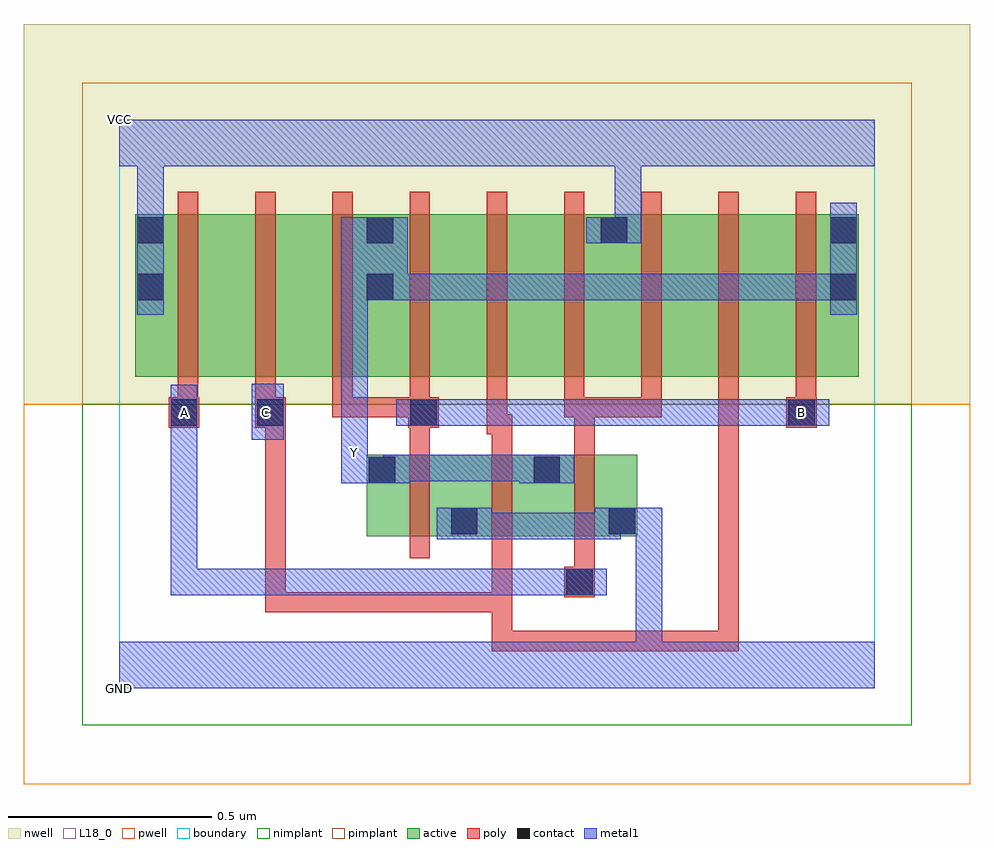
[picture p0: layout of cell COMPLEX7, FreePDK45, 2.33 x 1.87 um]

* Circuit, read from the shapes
.subckt COMPLEX7 A B C GND VCC Y
M1 GND B Y VSUBS nfet w=0.2u l=0.05u
M2 Y C GND VSUBS nfet w=0.2u l=0.05u
M3 GND A Y VSUBS nfet w=0.2u l=0.05u
M4 n1 A VCC n2 pfet w=0.4u l=0.05u
M5 n3 C n1 n2 pfet w=0.4u l=0.05u
M6 Y B n3 n2 pfet w=0.4u l=0.05u
M7 n4 B Y n2 pfet w=0.4u l=0.05u
M8 n5 C n4 n2 pfet w=0.4u l=0.05u
M9 VCC A n5 n2 pfet w=0.4u l=0.05u
M10 n6 A VCC n2 pfet w=0.4u l=0.05u
M11 n7 C n6 n2 pfet w=0.4u l=0.05u
M12 Y B n7 n2 pfet w=0.4u l=0.05u
.ends

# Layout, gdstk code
import gdstk
lib = gdstk.Library(unit=1e-6, precision=1e-09)
def R(c, l, rs):  # rectangles x0, y0, x1, y1
    for r in rs: c.add(gdstk.rectangle(r[:2], r[2:], *l))
def A(c, l, x, y, w, h, nx, ny, dx, dy):  # array of equal rectangles
    R(c, l, [(x+i*dx, y+j*dy, x+i*dx+w, y+j*dy+h) for i in range(nx) for j in range(ny)])
active = (1, 0)
pwell = (2, 0)
nwell = (3, 0)
nimplant = (4, 0)
pimplant = (5, 0)
poly = (9, 0)
contact = (10, 0)
metal1 = (11, 0)
L18_0 = (18, 0)
boundary = (235, 0)

complex7 = lib.new_cell('COMPLEX7')
A(complex7, active, 0.265, 0.767, 0.19, 0.4, 3, 1, 0.57, 0)
R(complex7, active, [(0.61,0.375,0.887,0.575), (0.812,0.375,0.887,0.575), (0.812,0.375,1.09,0.575), (1.015,0.375,1.275,0.575), (1.2,0.375,1.275,0.575), (0.61,0.445,0.685,0.575), (1.015,0.445,1.09,0.575), (0.04,0.767,0.265,1.167), (0.04,0.767,0.115,1.167), (0.455,0.767,0.68,1.167), (0.605,0.767,0.835,1.167), (0.605,0.767,0.68,1.167), (1.025,0.767,1.255,1.167), (1.18,0.767,1.405,1.167), (1.595,0.767,1.82,1.167), (1.745,0.767,1.82,1.165), (1.18,0.85,1.255,1.167)])
R(complex7, pwell, [(-0.235,-0.235,2.095,0.7)])
R(complex7, nwell, [(-0.235,0.7,2.095,1.635)])
R(complex7, nimplant, [(-0.09,-0.09,1.95,0.7)])
R(complex7, pimplant, [(-0.09,0.7,1.95,1.49)])
A(complex7, poly, 0.145, 0.667, 0.05, 0.095, 4, 1, 0.19, 0)
A(complex7, poly, 0.145, 0.712, 0.05, 0.51, 9, 1, 0.19, 0)
R(complex7, poly, [(0.917,0.092,0.967,0.142), (0.917,0.092,1.1,0.142), (0.917,0.092,0.967,0.237), (1.05,0.092,1.1,0.142), (1.05,0.092,1.1,0.142), (1.05,0.092,1.1,0.142), (1.05,0.092,1.392,0.142), (1.342,0.092,1.392,0.142), (1.342,0.092,1.392,0.142), (1.342,0.092,1.392,0.142), (1.342,0.092,1.392,0.142), (1.342,0.092,1.392,0.142), (1.342,0.092,1.392,0.142), (1.342,0.092,1.392,0.142), (1.342,0.092,1.525,0.142), (1.475,0.092,1.525,0.762), (1.475,0.092,1.525,0.142), (1.475,0.092,1.525,0.142), (1.475,0.092,1.525,0.142), (1.475,0.092,1.525,0.142), (1.475,0.092,1.525,0.142), (1.475,0.092,1.525,0.142), (1.475,0.092,1.525,0.142), (0.36,0.187,0.41,0.237), (0.36,0.187,0.41,0.237), (0.36,0.187,0.41,0.237), (0.36,0.187,0.41,0.237), (0.36,0.187,0.41,0.237), (0.36,0.187,0.542,0.237), (0.36,0.187,0.41,0.692), (0.492,0.187,0.542,0.237), (0.492,0.187,0.542,0.237), (0.492,0.187,0.542,0.237), (0.492,0.187,0.542,0.237), (0.492,0.187,0.542,0.237), (0.492,0.187,0.822,0.237), (0.772,0.187,0.822,0.237), (0.772,0.187,0.822,0.237), (0.772,0.187,0.822,0.237), (0.772,0.187,0.967,0.237), (0.917,0.187,0.967,0.237), (0.917,0.187,0.967,0.37), (1.095,0.225,1.17,0.3), (1.12,0.25,1.17,0.37), (0.715,0.32,0.765,0.63), (0.917,0.32,0.967,0.63), (1.12,0.32,1.17,0.63), (0.715,0.58,0.765,0.692), (0.917,0.58,0.967,0.675), (1.12,0.58,1.17,0.717), (0.905,0.625,0.955,0.762), (0.905,0.625,0.967,0.675), (0.122,0.642,0.197,0.717), (0.335,0.642,0.41,0.717), (0.712,0.642,0.787,0.717), (1.642,0.642,1.717,0.717), (0.525,0.667,0.575,0.717), (0.525,0.667,0.575,0.717), (0.525,0.667,0.575,0.717), (0.525,0.667,0.762,0.717), (1.095,0.667,1.145,0.762), (1.095,0.667,1.17,0.717), (1.12,0.667,1.335,0.717), (1.285,0.667,1.335,0.762), (1.285,0.667,1.335,0.717), (1.285,0.667,1.335,0.717), (1.285,0.667,1.335,0.717), (1.665,0.667,1.715,0.762)])
R(complex7, contact, [(1.1,0.23,1.165,0.295), (0.817,0.38,0.882,0.445), (1.205,0.38,1.27,0.445), (0.615,0.505,0.68,0.57), (1.02,0.505,1.085,0.57), (0.127,0.647,0.192,0.712), (0.34,0.647,0.405,0.712), (0.717,0.647,0.782,0.712), (1.647,0.647,1.712,0.712), (0.045,0.955,0.11,1.02), (0.61,0.955,0.675,1.02), (1.75,0.955,1.815,1.02), (0.045,1.095,0.11,1.16), (0.61,1.095,0.675,1.16), (1.185,1.095,1.25,1.16), (1.75,1.095,1.815,1.16)])
R(complex7, metal1, [(0,0,1.86,0.115), (1.272,0.05,1.337,0.445), (0.127,0.23,0.192,0.295), (0.127,0.23,0.337,0.295), (0.127,0.23,0.192,0.677), (0.272,0.23,0.337,0.295), (0.272,0.23,0.475,0.295), (0.41,0.23,0.475,0.295), (0.41,0.23,0.475,0.295), (0.41,0.23,0.475,0.295), (0.41,0.23,0.475,0.295), (0.41,0.23,0.475,0.295), (0.41,0.23,0.71,0.295), (0.645,0.23,0.71,0.295), (0.645,0.23,0.71,0.295), (0.645,0.23,0.71,0.295), (0.645,0.23,0.71,0.295), (0.645,0.23,0.71,0.295), (0.645,0.23,0.852,0.295), (0.787,0.23,0.852,0.295), (0.787,0.23,0.992,0.295), (0.927,0.23,0.992,0.295), (0.927,0.23,1.077,0.295), (1.012,0.23,1.077,0.295), (1.012,0.23,1.13,0.295), (1.065,0.23,1.2,0.295), (0.782,0.367,0.917,0.445), (0.852,0.367,0.952,0.432), (0.887,0.367,0.952,0.432), (0.887,0.367,1.077,0.432), (1.012,0.367,1.077,0.432), (1.012,0.367,1.235,0.432), (1.17,0.367,1.235,0.445), (1.17,0.38,1.235,0.445), (1.17,0.38,1.337,0.445), (1.272,0.38,1.337,0.445), (1.272,0.38,1.337,0.445), (1.272,0.38,1.337,0.445), (1.272,0.38,1.337,0.445), (1.272,0.38,1.337,0.445), (1.272,0.38,1.337,0.445), (0.547,0.505,0.612,0.57), (0.547,0.505,0.715,0.57), (0.547,0.505,0.612,0.647), (0.65,0.505,0.715,0.57), (0.65,0.505,0.715,0.575), (0.985,0.505,1.12,0.575), (0.65,0.51,0.852,0.575), (0.787,0.51,0.852,0.575), (0.787,0.51,0.955,0.575), (0.89,0.51,0.955,0.575), (0.89,0.51,1.05,0.575), (0.547,0.582,0.612,1.02), (0.127,0.612,0.192,0.677), (0.127,0.612,0.192,0.677), (0.127,0.612,0.192,0.747), (0.327,0.612,0.405,0.75), (0.682,0.647,0.817,0.712), (0.752,0.647,0.912,0.712), (0.847,0.647,0.912,0.712), (0.847,0.647,0.955,0.712), (0.89,0.647,0.955,0.712), (0.89,0.647,1.077,0.712), (1.012,0.647,1.077,0.712), (1.012,0.647,1.215,0.712), (1.15,0.647,1.215,0.712), (1.15,0.647,1.215,0.712), (1.15,0.647,1.215,0.712), (1.15,0.647,1.402,0.712), (1.337,0.647,1.402,0.712), (1.337,0.647,1.402,0.712), (1.337,0.647,1.402,0.712), (1.337,0.647,1.54,0.712), (1.475,0.647,1.54,0.712), (1.475,0.647,1.54,0.712), (1.475,0.647,1.54,0.712), (1.475,0.647,1.677,0.712), (1.612,0.647,1.747,0.712), (0.045,0.92,0.11,1.195), (1.75,0.92,1.815,1.195), (0.547,0.955,0.71,1.16), (0.645,0.955,0.71,1.02), (0.645,0.955,0.71,1.02), (0.645,0.955,0.852,1.02), (0.787,0.955,0.852,1.02), (0.787,0.955,0.955,1.02), (0.89,0.955,0.955,1.02), (0.89,0.955,1.077,1.02), (1.012,0.955,1.077,1.02), (1.012,0.955,1.215,1.02), (1.15,0.955,1.215,1.02), (1.15,0.955,1.215,1.02), (1.15,0.955,1.215,1.02), (1.15,0.955,1.402,1.02), (1.337,0.955,1.402,1.02), (1.337,0.955,1.402,1.02), (1.337,0.955,1.402,1.02), (1.337,0.955,1.54,1.02), (1.475,0.955,1.54,1.02), (1.475,0.955,1.54,1.02), (1.475,0.955,1.54,1.02), (1.475,0.955,1.815,1.02), (1.75,0.955,1.815,1.02), (1.75,0.955,1.815,1.02), (1.15,1.095,1.285,1.16), (1.22,1.095,1.285,1.35), (0.045,1.13,0.11,1.35), (0,1.285,1.86,1.4)])
R(complex7, L18_0, [(0,0,1.86,0.115), (1.272,0.05,1.337,0.445), (0.127,0.23,0.192,0.295), (0.127,0.23,0.192,0.677), (0.127,0.23,0.337,0.295), (0.272,0.23,0.337,0.295), (0.272,0.23,0.475,0.295), (0.41,0.23,0.475,0.295), (0.41,0.23,0.475,0.295), (0.41,0.23,0.475,0.295), (0.41,0.23,0.475,0.295), (0.41,0.23,0.475,0.295), (0.41,0.23,0.71,0.295), (0.645,0.23,0.71,0.295), (0.645,0.23,0.71,0.295), (0.645,0.23,0.71,0.295), (0.645,0.23,0.71,0.295), (0.645,0.23,0.71,0.295), (0.645,0.23,0.852,0.295), (0.787,0.23,0.852,0.295), (0.787,0.23,0.992,0.295), (0.927,0.23,0.992,0.295), (0.927,0.23,1.077,0.295), (1.012,0.23,1.077,0.295), (1.012,0.23,1.13,0.295), (1.065,0.23,1.2,0.295), (0.782,0.367,0.917,0.445), (0.852,0.367,0.952,0.432), (0.887,0.367,0.952,0.432), (0.887,0.367,1.077,0.432), (1.012,0.367,1.077,0.432), (1.012,0.367,1.235,0.432), (1.17,0.367,1.235,0.445), (1.17,0.38,1.235,0.445), (1.17,0.38,1.337,0.445), (1.272,0.38,1.337,0.445), (1.272,0.38,1.337,0.445), (1.272,0.38,1.337,0.445), (1.272,0.38,1.337,0.445), (1.272,0.38,1.337,0.445), (1.272,0.38,1.337,0.445), (0.547,0.505,0.612,0.57), (0.547,0.505,0.715,0.57), (0.547,0.505,0.612,0.647), (0.65,0.505,0.715,0.57), (0.65,0.505,0.715,0.575), (0.985,0.505,1.12,0.575), (0.65,0.51,0.852,0.575), (0.787,0.51,0.852,0.575), (0.787,0.51,0.955,0.575), (0.89,0.51,0.955,0.575), (0.89,0.51,1.05,0.575), (0.547,0.547,0.612,0.612), (0.547,0.582,0.612,1.02), (0.127,0.612,0.192,0.747), (0.127,0.612,0.192,0.677), (0.127,0.612,0.192,0.677), (0.327,0.612,0.405,0.75), (0.127,0.647,0.192,0.712), (0.327,0.647,0.392,0.712), (0.682,0.647,0.817,0.712), (0.752,0.647,0.912,0.712), (0.847,0.647,0.912,0.712), (0.847,0.647,0.955,0.712), (0.89,0.647,0.955,0.712), (0.89,0.647,1.077,0.712), (1.012,0.647,1.077,0.712), (1.012,0.647,1.215,0.712), (1.15,0.647,1.215,0.712), (1.15,0.647,1.215,0.712), (1.15,0.647,1.215,0.712), (1.15,0.647,1.402,0.712), (1.337,0.647,1.402,0.712), (1.337,0.647,1.402,0.712), (1.337,0.647,1.402,0.712), (1.337,0.647,1.54,0.712), (1.475,0.647,1.54,0.712), (1.475,0.647,1.54,0.712), (1.475,0.647,1.54,0.712), (1.475,0.647,1.677,0.712), (1.612,0.647,1.747,0.712), (1.647,0.647,1.712,0.712), (0.045,0.92,0.11,1.195), (1.75,0.92,1.815,1.195), (0.547,0.955,0.71,1.16), (0.645,0.955,0.71,1.02), (0.645,0.955,0.71,1.02), (0.645,0.955,0.852,1.02), (0.787,0.955,0.852,1.02), (0.787,0.955,0.955,1.02), (0.89,0.955,0.955,1.02), (0.89,0.955,1.077,1.02), (1.012,0.955,1.077,1.02), (1.012,0.955,1.215,1.02), (1.15,0.955,1.215,1.02), (1.15,0.955,1.215,1.02), (1.15,0.955,1.215,1.02), (1.15,0.955,1.402,1.02), (1.337,0.955,1.402,1.02), (1.337,0.955,1.402,1.02), (1.337,0.955,1.402,1.02), (1.337,0.955,1.54,1.02), (1.475,0.955,1.54,1.02), (1.475,0.955,1.54,1.02), (1.475,0.955,1.54,1.02), (1.475,0.955,1.815,1.02), (1.75,0.955,1.815,1.02), (1.75,0.955,1.815,1.02), (1.15,1.095,1.285,1.16), (1.22,1.095,1.285,1.35), (0.045,1.13,0.11,1.35), (0,1.285,1.86,1.4)])
R(complex7, boundary, [(0,0,1.86,1.4)])
complex7.add(gdstk.Label('A', (0.16,0.68), layer=11, texttype=0))
complex7.add(gdstk.Label('B', (1.68,0.68), layer=11, texttype=0))
complex7.add(gdstk.Label('C', (0.36,0.68), layer=11, texttype=0))
complex7.add(gdstk.Label('Y', (0.58,0.58), layer=11, texttype=0))
complex7.add(gdstk.Label('VCC', (0,1.4), layer=11, texttype=0))
complex7.add(gdstk.Label('GND', (0,0), layer=11, texttype=0))

lib.write_gds('COMPLEX7.gds')
